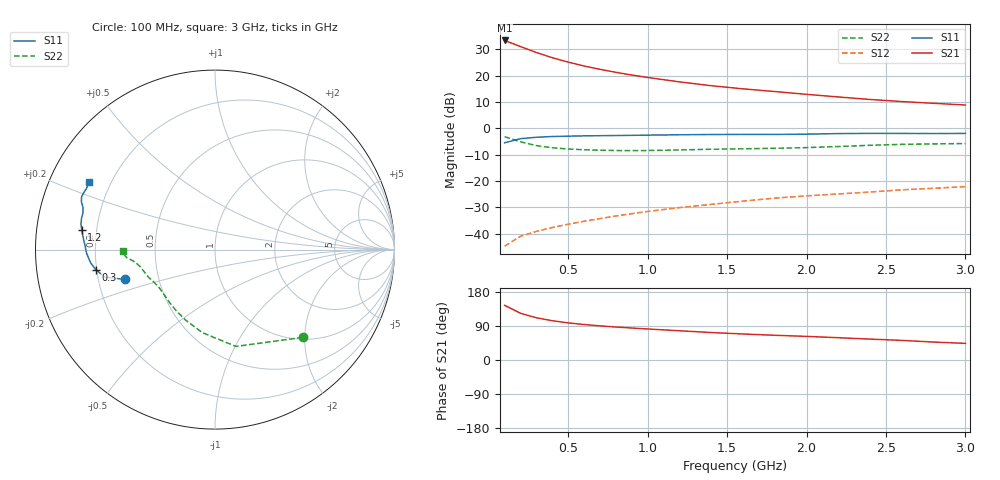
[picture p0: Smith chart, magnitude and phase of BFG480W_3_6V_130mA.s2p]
! Filename: 3_6130BFG480.001
! Title: BFG480W
! Bias: Vce=3.6V; Ic=130mA
! Company: Philips Semiconductors NL
! User: Quality&Reliability T&D
! Measure time: 10 Nov 1999 / 12:01:36
#  MHz  S  MA  R 50
! Freq  S11  S21  S12  S22  :
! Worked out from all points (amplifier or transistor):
!   20 points, 100 MHz to 3 GHz, reference 50 ohm
!   highest |S21| = 33.3 dB at 100 MHz (marker M1)
!   |S21| within 3 dB of that: start of sweep to 230.1 MHz
!   unconditionally stable (mu >= 1): 560.3 MHz to end of sweep
!   at 400 MHz: K = 0.90, MSG = 32.2 dB, |S12| = -37.7 dB
!   at 1.2 GHz: K = 1.10, MAG = 21.9 dB, |S12| = -30.1 dB
!   at 3 GHz: K = 1.06, MAG = 13.9 dB, |S12| = -22.2 dB
!   S11 on the Smith chart (normalised r, x): 100 MHz: 0.31, -0.15; 300 MHz: 0.20, -0.08; 1.2 GHz: 0.14, +0.07; 3 GHz: 0.12, +0.25
100  0.5298 -161.7  46.27 144.2  0.005785 68.4  0.6914 -45.0
200  0.6329 -166.0  35.4 123.3  0.008912 61.2  0.552 -77.8
300  0.6739 -170.5  27.35 111.5  0.01105 61.5  0.4684 -98.5
400  0.6961 -173.8  21.76 103.6  0.01306 63.7  0.4261 -112.5
500  0.7073 -176.4  17.96 98.0  0.01508 66.0  0.4036 -122.3
600  0.7163 -178.6  15.17 93.6  0.01717 68.2  0.3906 -129.5
700  0.7214 179.4  13.12 90.1  0.01929 70.0  0.3823 -135.0
800  0.7267 177.6  11.51 87.0  0.02162 71.5  0.3776 -139.6
900  0.7336 175.8  10.22 84.4  0.02391 73.2  0.3761 -143.5
1000  0.7397 174.3  9.19 81.9  0.02639 74.1  0.3776 -147.0
1200  0.7512 171.4  7.58 77.2  0.03117 75.3  0.3872 -152.6
1400  0.76 169.2  6.411 72.5  0.03591 76.0  0.3992 -156.7
1600  0.764 166.9  5.59 68.6  0.04138 76.6  0.407 -159.9
1800  0.7634 164.4  4.969 65.2  0.04718 76.8  0.416 -163.5
2000  0.7723 162.2  4.396 62.3  0.05209 77.4  0.4292 -167.5
2200  0.7909 160.2  3.921 58.8  0.05665 77.1  0.4497 -171.0
2400  0.7993 158.5  3.512 55.1  0.06159 76.5  0.4744 -173.3
2600  0.7973 156.8  3.207 51.8  0.06784 75.6  0.4941 -174.7
2800  0.7928 154.4  2.971 47.4  0.07259 74.2  0.5043 -176.4
3000  0.7976 151.8  2.759 43.9  0.078 73.3  0.5128 -179.2
